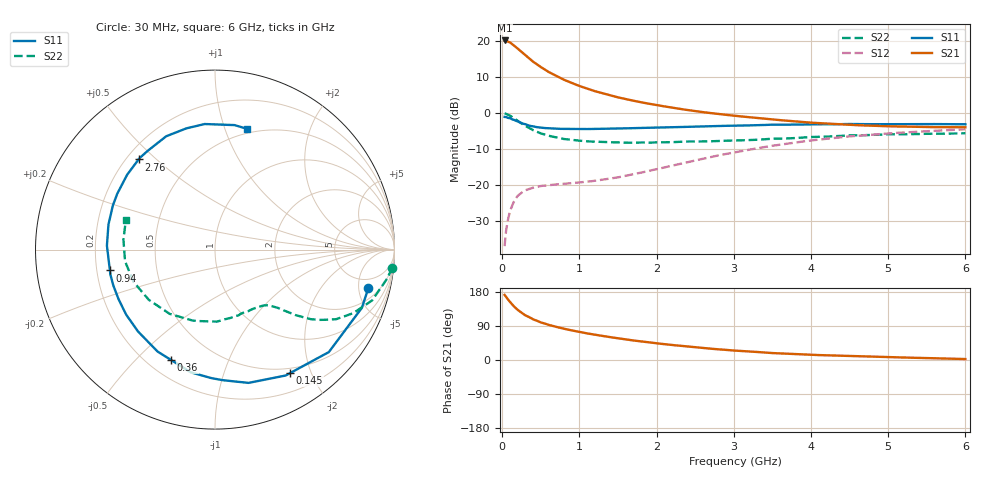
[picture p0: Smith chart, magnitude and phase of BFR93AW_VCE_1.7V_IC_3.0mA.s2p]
! Infineon Technologies  Discrete & RF Semiconductors
! BFR93AW
! VCE =  1.7 V,  IC =  3.0 mA
! Common Emitter S-Parameters:  Nov 2015
# GHz  S  MA  R  50
!  f  S11  S21  S12  S22
! GHz  MAG  ANG  MAG  ANG  MAG  ANG  MAG  ANG
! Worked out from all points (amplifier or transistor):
!   206 points, 30 MHz to 6 GHz, reference 50 ohm
!   highest |S21| = 20.2 dB at 30 MHz (marker M1)
!   |S21| within 3 dB of that: start of sweep to 237.8 MHz
!   unconditionally stable (mu >= 1): 1.08 GHz to 2.528 GHz
!   at 200 MHz: K = 0.21, MSG = 20.5 dB, |S12| = -23.0 dB
!   at 1.56 GHz: K = 1.15, MAG = 8.5 dB, |S12| = -17.7 dB
!   at 6 GHz: K = 0.99, MSG = 0.3 dB, |S12| = -4.5 dB
!   S11 on the Smith chart (normalised r, x): 30 MHz: 3.40, -6.44; 145 MHz: 0.43, -1.70; 360 MHz: 0.29, -0.64; 940 MHz: 0.25, -0.09; 2.76 GHz: 0.25, +0.44; 6 GHz: 0.45, +1.19
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0.03  0.881 -13.9  10.22 171.7  0.014 81.7  0.993 -5.8
0.05  0.8805 -21.6  10.13 165.9  0.0233 78.6  0.9731 -9.5
0.1  0.8534 -42.0  9.606 153.1  0.0431 67.9  0.9202 -17.9
0.145  0.8052 -58.7  8.807 142.8  0.0566 59.8  0.8553 -23.9
0.15  0.8043 -60.7  8.738 141.5  0.0582 59.1  0.8487 -24.6
0.2  0.7657 -75.9  7.88 132.2  0.0704 52.8  0.7796 -29.8
0.26  0.716 -91.7  6.891 122.9  0.0791 46.4  0.7021 -33.9
0.3  0.6971 -101.1  6.328 117.7  0.0841 43.8  0.6595 -36.0
0.36  0.6617 -111.8  5.608 111.9  0.0883 40.8  0.6092 -37.8
0.4  0.6519 -119.4  5.167 107.2  0.0913 39.0  0.576 -39.2
0.5  0.626 -133.3  4.35 99.1  0.0963 36.3  0.5187 -41.2
0.6  0.6134 -143.8  3.724 92.8  0.099 35.6  0.482 -42.6
0.8  0.6008 -160.5  2.898 82.4  0.1034 36.4  0.434 -46.0
0.94  0.597 -168.8  2.513 76.6  0.1065 38.6  0.4178 -48.0
1.04  0.5957 -174.3  2.293 72.5  0.1091 40.2  0.4079 -50.3
1.5  0.61 166.6  1.649 57.3  0.1271 50.3  0.3897 -61.7
2.02  0.6276 149.7  1.275 43.5  0.1668 58.7  0.3903 -77.2
2.76  0.6585 130.3  0.98 28.8  0.2516 60.9  0.4058 -100.5
3.1  0.668 122.1  0.894 23.8  0.2945 58.9  0.416 -111.3
4.1  0.6944 101.6  0.723 13.0  0.4255 47.6  0.4651 -146.0
5.1  0.6977 86.2  0.65 6.9  0.5276 33.6  0.5047 -175.4
6  0.6964 75.4  0.633 2.5  0.5932 22.0  0.5227 161.8
